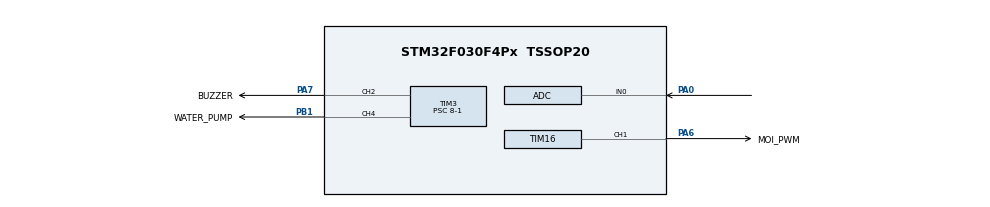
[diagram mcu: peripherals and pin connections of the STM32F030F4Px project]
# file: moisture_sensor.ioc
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ADC.DMAContinuousRequests=ENABLE
ADC.ExternalTrigConv=ADC_EXTERNALTRIGCONV_T1_TRGO
ADC.SamplingTime=ADC_SAMPLETIME_239CYCLES_5
Dma.ADC.0.Direction=DMA_PERIPH_TO_MEMORY
Dma.ADC.0.Instance=DMA1_Channel1
Dma.ADC.0.MemDataAlignment=DMA_MDATAALIGN_HALFWORD
Dma.ADC.0.MemInc=DMA_MINC_ENABLE
Dma.ADC.0.Mode=DMA_CIRCULAR
Dma.ADC.0.PeriphDataAlignment=DMA_PDATAALIGN_HALFWORD
Dma.ADC.0.PeriphInc=DMA_PINC_DISABLE
Dma.ADC.0.Priority=DMA_PRIORITY_LOW
Dma.Request0=ADC
Mcu.Family=STM32F0
Mcu.Name=STM32F030F4Px
Mcu.Package=TSSOP20
NVIC.DMA1_Channel1_IRQn=true\:0\:0\:false\:false\:true\:false\:true
NVIC.TIM1_BRK_UP_TRG_COM_IRQn=true\:0\:0\:false\:false\:true\:true\:true
PA0.Mode=IN0
PA0.Signal=ADC_IN0
PA13.Mode=Serial_Wire
PA13.Signal=SYS_SWDIO
PA14.Mode=Serial_Wire
PA14.Signal=SYS_SWCLK
PA6.GPIO_Label=MOI_PWM
PA6.Signal=S_TIM16_CH1
PA7.GPIO_Label=BUZZER
PA7.Signal=S_TIM3_CH2
PB1.GPIO_Label=WATER_PUMP
PB1.Signal=S_TIM3_CH4
ProjectManager.HeapSize=0x200
ProjectManager.StackSize=0x400
ProjectManager.TargetToolchain=STM32CubeIDE
SH.S_TIM16_CH1.0=TIM16_CH1,PWM Generation1 CH1
SH.S_TIM3_CH2.0=TIM3_CH2,PWM Generation2 CH2
SH.S_TIM3_CH4.0=TIM3_CH4,PWM Generation4 CH4
TIM1.Period=1000-1
TIM1.Prescaler=800-1
TIM1.TIM_MasterOutputTrigger=TIM_TRGO_UPDATE
TIM16.Channel=TIM_CHANNEL_1
TIM16.Period=8-1
TIM16.Pulse=4-1
TIM3.Channel-PWM\ Generation2\ CH2=TIM_CHANNEL_2
TIM3.Channel-PWM\ Generation4\ CH4=TIM_CHANNEL_4
TIM3.Period=1000-1
TIM3.Prescaler=8-1
VP_TIM16_VS_ClockSourceINT.Mode=Enable_Timer
VP_TIM1_VS_ClockSourceINT.Mode=Internal
VP_TIM3_VS_ClockSourceINT.Mode=Internal
board=custom

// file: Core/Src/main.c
/* USER CODE BEGIN Header */
/**
  ******************************************************************************
  * @file           : main.c
  * @brief          : Main program body
  ******************************************************************************
  * @attention
  *
  * <h2><center>&copy; Copyright (c) 2020 STMicroelectronics.
  * All rights reserved.</center></h2>
  *
  * This software component is licensed by ST under BSD 3-Clause license,
  * the "License"; You may not use this file except in compliance with the
  * License. You may obtain a copy of the License at:
  *                        opensource.org/licenses/BSD-3-Clause
  *
  ******************************************************************************
  */
/* USER CODE END Header */
#include "main.h"

ADC_HandleTypeDef hadc;
DMA_HandleTypeDef hdma_adc;

TIM_HandleTypeDef htim1;
TIM_HandleTypeDef htim3;
TIM_HandleTypeDef htim16;

/* USER CODE BEGIN PV */

/* soil vars */
float Soil_Moi_V;

/* constants */
#define SOIL_DRY 1737U /* 1.4V */
#define SOIL_WET 993U /* 0.75V */

/* scheduler vars */
uint8_t Sch_100ms = 255;

/* USER CODE END PV */

void SystemClock_Config(void);
static void MX_GPIO_Init(void);
static void MX_DMA_Init(void);
static void MX_TIM16_Init(void);
static void MX_TIM3_Init(void);
static void MX_ADC_Init(void);
static void MX_TIM1_Init(void);

int main(void)
{

  /* MCU Configuration--------------------------------------------------------*/

  /* Reset of all peripherals, Initializes the Flash interface and the Systick. */
  HAL_Init();

  /* Configure the system clock */
  SystemClock_Config();

  /* Initialize all configured peripherals */
  MX_GPIO_Init();
  MX_DMA_Init();
  MX_TIM16_Init();
  MX_TIM3_Init();
  MX_ADC_Init();
  MX_TIM1_Init();
  /* USER CODE BEGIN 2 */

  /* tim16 pwm 1MHz D=50% start */
  HAL_TIM_PWM_Start(&htim16, TIM_CHANNEL_1);

  /* tim3 pwm 1kHz buzzer start */
  HAL_TIM_PWM_Start(&htim3, TIM_CHANNEL_2);

  /* tim3 pwm 1kHz water pump start */
  HAL_TIM_PWM_Start(&htim3, TIM_CHANNEL_4);

  /* calib adc; adc dma start */
  uint16_t ADC_Raw[1];

  HAL_ADCEx_Calibration_Start(&hadc);
  HAL_ADC_Start_DMA(&hadc, (uint32_t*)ADC_Raw, 1);

  /* tim1 10Hz int+adc start */
  HAL_TIM_Base_Start_IT(&htim1);

  /* soil vars */
  uint8_t Soil_Swt = 255;

  /* USER CODE END 2 */

  /* Infinite loop */
  /* USER CODE BEGIN WHILE */
  while (1)
  {
	  if(Sch_100ms){

		  /* voltage from sensor */
		  Soil_Moi_V = 3.3*(ADC_Raw[0]/(float)4095.0);

		  if(ADC_Raw[0] >= SOIL_DRY){

			  /* water pump */
			  TIM3->CCR4 = 1000-1; // pump turn on

			  /* buzzer */
			  if(Soil_Swt){
				  TIM3->CCR2 = 800-1; // buzzer on
			  }
			  else
			  {
				  TIM3->CCR2 = 0; // buzzer off
			  }
			  Soil_Swt = ~Soil_Swt;
		  }

		  else if(ADC_Raw[0] <= SOIL_WET){
			  /* water pump */
			  TIM3->CCR4 = 0; // pump turn off

			  /* buzzer */
			  TIM3->CCR2 = 0; // buzzer off
		  }

		 /*nullify*/
		  Sch_100ms = 0;
	  }

    /* USER CODE END WHILE */

  }
}

void SystemClock_Config(void)
{
  RCC_OscInitTypeDef RCC_OscInitStruct = {0};
  RCC_ClkInitTypeDef RCC_ClkInitStruct = {0};

  /** Initializes the RCC Oscillators according to the specified parameters
  * in the RCC_OscInitTypeDef structure.
  */
  RCC_OscInitStruct.OscillatorType = RCC_OSCILLATORTYPE_HSI|RCC_OSCILLATORTYPE_HSI14;
  RCC_OscInitStruct.HSIState = RCC_HSI_ON;
  RCC_OscInitStruct.HSI14State = RCC_HSI14_ON;
  RCC_OscInitStruct.HSICalibrationValue = RCC_HSICALIBRATION_DEFAULT;
  RCC_OscInitStruct.HSI14CalibrationValue = 16;
  RCC_OscInitStruct.PLL.PLLState = RCC_PLL_NONE;
  if (HAL_RCC_OscConfig(&RCC_OscInitStruct) != HAL_OK)
  {
    Error_Handler();
  }
  /** Initializes the CPU, AHB and APB buses clocks
  */
  RCC_ClkInitStruct.ClockType = RCC_CLOCKTYPE_HCLK|RCC_CLOCKTYPE_SYSCLK
                              |RCC_CLOCKTYPE_PCLK1;
  RCC_ClkInitStruct.SYSCLKSource = RCC_SYSCLKSOURCE_HSI;
  RCC_ClkInitStruct.AHBCLKDivider = RCC_SYSCLK_DIV1;
  RCC_ClkInitStruct.APB1CLKDivider = RCC_HCLK_DIV1;

  if (HAL_RCC_ClockConfig(&RCC_ClkInitStruct, FLASH_LATENCY_0) != HAL_OK)
  {
    Error_Handler();
  }
}

static void MX_ADC_Init(void)
{

  ADC_ChannelConfTypeDef sConfig = {0};

  /** Configure the global features of the ADC (Clock, Resolution, Data Alignment and number of conversion)
  */
  hadc.Instance = ADC1;
  hadc.Init.ClockPrescaler = ADC_CLOCK_ASYNC_DIV1;
  hadc.Init.Resolution = ADC_RESOLUTION_12B;
  hadc.Init.DataAlign = ADC_DATAALIGN_RIGHT;
  hadc.Init.ScanConvMode = ADC_SCAN_DIRECTION_FORWARD;
  hadc.Init.EOCSelection = ADC_EOC_SINGLE_CONV;
  hadc.Init.LowPowerAutoWait = DISABLE;
  hadc.Init.LowPowerAutoPowerOff = DISABLE;
  hadc.Init.ContinuousConvMode = DISABLE;
  hadc.Init.DiscontinuousConvMode = DISABLE;
  hadc.Init.ExternalTrigConv = ADC_EXTERNALTRIGCONV_T1_TRGO;
  hadc.Init.ExternalTrigConvEdge = ADC_EXTERNALTRIGCONVEDGE_RISING;
  hadc.Init.DMAContinuousRequests = ENABLE;
  hadc.Init.Overrun = ADC_OVR_DATA_PRESERVED;
  if (HAL_ADC_Init(&hadc) != HAL_OK)
  {
    Error_Handler();
  }
  /** Configure for the selected ADC regular channel to be converted.
  */
  sConfig.Channel = ADC_CHANNEL_0;
  sConfig.Rank = ADC_RANK_CHANNEL_NUMBER;
  sConfig.SamplingTime = ADC_SAMPLETIME_239CYCLES_5;
  if (HAL_ADC_ConfigChannel(&hadc, &sConfig) != HAL_OK)
  {
    Error_Handler();
  }

}

static void MX_TIM1_Init(void)
{

  TIM_ClockConfigTypeDef sClockSourceConfig = {0};
  TIM_MasterConfigTypeDef sMasterConfig = {0};

  htim1.Instance = TIM1;
  htim1.Init.Prescaler = 800-1;
  htim1.Init.CounterMode = TIM_COUNTERMODE_UP;
  htim1.Init.Period = 1000-1;
  htim1.Init.ClockDivision = TIM_CLOCKDIVISION_DIV1;
  htim1.Init.RepetitionCounter = 0;
  htim1.Init.AutoReloadPreload = TIM_AUTORELOAD_PRELOAD_DISABLE;
  if (HAL_TIM_Base_Init(&htim1) != HAL_OK)
  {
    Error_Handler();
  }
  sClockSourceConfig.ClockSource = TIM_CLOCKSOURCE_INTERNAL;
  if (HAL_TIM_ConfigClockSource(&htim1, &sClockSourceConfig) != HAL_OK)
  {
    Error_Handler();
  }
  sMasterConfig.MasterOutputTrigger = TIM_TRGO_UPDATE;
  sMasterConfig.MasterSlaveMode = TIM_MASTERSLAVEMODE_DISABLE;
  if (HAL_TIMEx_MasterConfigSynchronization(&htim1, &sMasterConfig) != HAL_OK)
  {
    Error_Handler();
  }

}

static void MX_TIM3_Init(void)
{

  TIM_ClockConfigTypeDef sClockSourceConfig = {0};
  TIM_MasterConfigTypeDef sMasterConfig = {0};
  TIM_OC_InitTypeDef sConfigOC = {0};

  htim3.Instance = TIM3;
  htim3.Init.Prescaler = 8-1;
  htim3.Init.CounterMode = TIM_COUNTERMODE_UP;
  htim3.Init.Period = 1000-1;
  htim3.Init.ClockDivision = TIM_CLOCKDIVISION_DIV1;
  htim3.Init.AutoReloadPreload = TIM_AUTORELOAD_PRELOAD_DISABLE;
  if (HAL_TIM_Base_Init(&htim3) != HAL_OK)
  {
    Error_Handler();
  }
  sClockSourceConfig.ClockSource = TIM_CLOCKSOURCE_INTERNAL;
  if (HAL_TIM_ConfigClockSource(&htim3, &sClockSourceConfig) != HAL_OK)
  {
    Error_Handler();
  }
  if (HAL_TIM_PWM_Init(&htim3) != HAL_OK)
  {
    Error_Handler();
  }
  sMasterConfig.MasterOutputTrigger = TIM_TRGO_RESET;
  sMasterConfig.MasterSlaveMode = TIM_MASTERSLAVEMODE_DISABLE;
  if (HAL_TIMEx_MasterConfigSynchronization(&htim3, &sMasterConfig) != HAL_OK)
  {
    Error_Handler();
  }
  sConfigOC.OCMode = TIM_OCMODE_PWM1;
  sConfigOC.Pulse = 0;
  sConfigOC.OCPolarity = TIM_OCPOLARITY_HIGH;
  sConfigOC.OCFastMode = TIM_OCFAST_DISABLE;
  if (HAL_TIM_PWM_ConfigChannel(&htim3, &sConfigOC, TIM_CHANNEL_2) != HAL_OK)
  {
    Error_Handler();
  }
  if (HAL_TIM_PWM_ConfigChannel(&htim3, &sConfigOC, TIM_CHANNEL_4) != HAL_OK)
  {
    Error_Handler();
  }
  HAL_TIM_MspPostInit(&htim3);

}

static void MX_TIM16_Init(void)
{

  TIM_OC_InitTypeDef sConfigOC = {0};
  TIM_BreakDeadTimeConfigTypeDef sBreakDeadTimeConfig = {0};

  htim16.Instance = TIM16;
  htim16.Init.Prescaler = 0;
  htim16.Init.CounterMode = TIM_COUNTERMODE_UP;
  htim16.Init.Period = 8-1;
  htim16.Init.ClockDivision = TIM_CLOCKDIVISION_DIV1;
  htim16.Init.RepetitionCounter = 0;
  htim16.Init.AutoReloadPreload = TIM_AUTORELOAD_PRELOAD_DISABLE;
  if (HAL_TIM_Base_Init(&htim16) != HAL_OK)
  {
    Error_Handler();
  }
  if (HAL_TIM_PWM_Init(&htim16) != HAL_OK)
  {
    Error_Handler();
  }
  sConfigOC.OCMode = TIM_OCMODE_PWM1;
  sConfigOC.Pulse = 4-1;
  sConfigOC.OCPolarity = TIM_OCPOLARITY_HIGH;
  sConfigOC.OCNPolarity = TIM_OCNPOLARITY_HIGH;
  sConfigOC.OCFastMode = TIM_OCFAST_DISABLE;
  sConfigOC.OCIdleState = TIM_OCIDLESTATE_RESET;
  sConfigOC.OCNIdleState = TIM_OCNIDLESTATE_RESET;
  if (HAL_TIM_PWM_ConfigChannel(&htim16, &sConfigOC, TIM_CHANNEL_1) != HAL_OK)
  {
    Error_Handler();
  }
  sBreakDeadTimeConfig.OffStateRunMode = TIM_OSSR_DISABLE;
  sBreakDeadTimeConfig.OffStateIDLEMode = TIM_OSSI_DISABLE;
  sBreakDeadTimeConfig.LockLevel = TIM_LOCKLEVEL_OFF;
  sBreakDeadTimeConfig.DeadTime = 0;
  sBreakDeadTimeConfig.BreakState = TIM_BREAK_DISABLE;
  sBreakDeadTimeConfig.BreakPolarity = TIM_BREAKPOLARITY_HIGH;
  sBreakDeadTimeConfig.AutomaticOutput = TIM_AUTOMATICOUTPUT_DISABLE;
  if (HAL_TIMEx_ConfigBreakDeadTime(&htim16, &sBreakDeadTimeConfig) != HAL_OK)
  {
    Error_Handler();
  }
  HAL_TIM_MspPostInit(&htim16);

}

static void MX_DMA_Init(void)
{

  /* DMA controller clock enable */
  __HAL_RCC_DMA1_CLK_ENABLE();

  /* DMA interrupt init */
  /* DMA1_Channel1_IRQn interrupt configuration */
  HAL_NVIC_SetPriority(DMA1_Channel1_IRQn, 0, 0);
  HAL_NVIC_EnableIRQ(DMA1_Channel1_IRQn);

}

static void MX_GPIO_Init(void)
{

  /* GPIO Ports Clock Enable */
  __HAL_RCC_GPIOA_CLK_ENABLE();
  __HAL_RCC_GPIOB_CLK_ENABLE();

}

/* USER CODE BEGIN 4 */

/************** timer 1 irqhandler *************/
void HAL_TIM_PeriodElapsedCallback(TIM_HandleTypeDef *htim)
{
 if(htim->Instance == TIM1)
	{
		/* set every 100ms */
		Sch_100ms = 255;
	}
}

/* USER CODE END 4 */

void Error_Handler(void)
{
}

/************************ (C) COPYRIGHT STMicroelectronics *****END OF FILE****/
